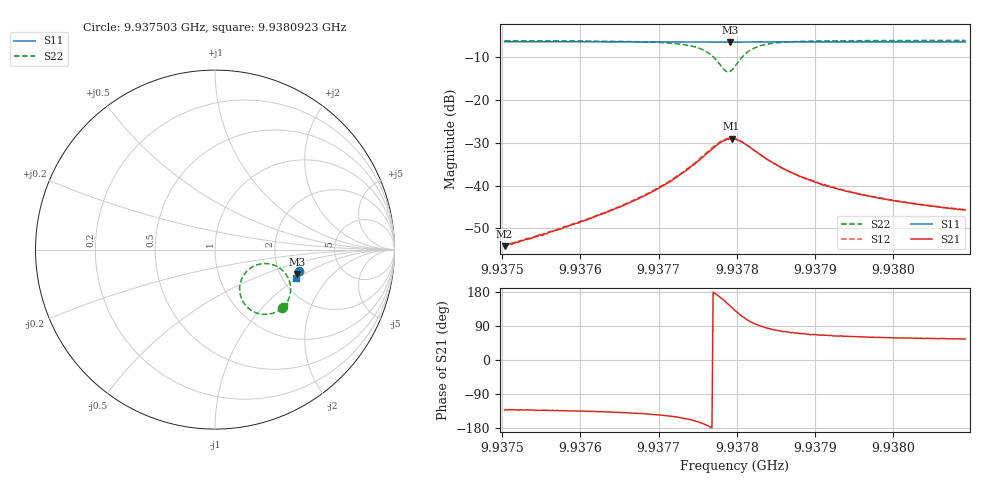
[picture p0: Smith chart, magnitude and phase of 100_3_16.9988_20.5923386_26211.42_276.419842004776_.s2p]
#  HZ  S  RI  R  50.00
! Rohde & Schwarz Vector Network Analyzer
! Rohde-Schwarz,ZNB20-2Port,1311601062101988,3.16
! Created: UTC 3/20/2024, 10:56:36 PM
! freq[Hz]  re:S11  im:S11  re:S21  im:S21  re:S12  im:S12  re:S22  im:S22
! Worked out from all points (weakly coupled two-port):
!   401 points, 9.937503 GHz to 9.9380923 GHz, reference 50 ohm
!   highest |S21| = -29.02 dB at 9.9377932 GHz (marker M1); lowest = -54.2 dB at 9.937503 GHz (marker M2)
!   lowest |S11| = -6.4 dB at 9.9377917 GHz (marker M3), VSWR 2.83, Z = 123 - j43.6 ohm
!   |S11| at or under -10 dB: nowhere
!   |S22| runs from -13.4 to -6.0 dB; largest |S21 - S12| = 0.0019
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9.937503e9  0.4673 -0.1194  -0.00131 -0.00144  -0.00131 -0.00144  0.3732 -0.3265
9.93755456e9  0.4664 -0.123  -0.00186 -0.00199  -0.00189 -0.00197  0.3658 -0.3325
9.9376017e9  0.4653 -0.1264  -0.00269 -0.00271  -0.00277 -0.00266  0.3558 -0.339
9.93765327e9  0.4638 -0.1299  -0.00432 -0.00381  -0.00447 -0.00382  0.3385 -0.3483
9.93770041e9  0.4624 -0.1331  -0.00765 -0.00537  -0.00791 -0.00533  0.3072 -0.3584
9.93773577e9  0.4609 -0.1357  -0.0137 -0.00632  -0.0142 -0.00623  0.2547 -0.3593
9.93775786e9  0.4594 -0.1371  -0.0216 -0.0043  -0.0224 -0.00381  0.1921 -0.3313
9.93776818e9  0.4585 -0.1373  -0.0267 -0.000454  -0.0277 0.00052  0.157 -0.2914
9.93777849e9  0.4577 -0.1373  -0.0306 0.00766  -0.0312 0.00898  0.1374 -0.2212
9.93778586e9  0.4573 -0.1369  -0.0306 0.0155  -0.0306 0.0172  0.1518 -0.1575
9.93779175e9  0.4572 -0.1365  -0.0279 0.0216  -0.0273 0.0235  0.1856 -0.1129
9.93779322e9  0.4574 -0.1364  -0.0267 0.0232  -0.0262 0.0247  0.1966 -0.104
9.93779764e9  0.4577 -0.136  -0.0228 0.0265  -0.0218 0.0277  0.2333 -0.0853
9.93780501e9  0.4582 -0.1362  -0.0152 0.0289  -0.0143 0.0298  0.2957 -0.0784
9.93781237e9  0.4589 -0.1365  -0.00879 0.0285  -0.0078 0.029  0.3451 -0.0937
9.93781974e9  0.4594 -0.137  -0.004 0.0265  -0.00328 0.0266  0.3784 -0.118
9.93782858e9  0.4595 -0.138  -0.000234 0.0235  0.000289 0.0235  0.4019 -0.1477
9.93786099e9  0.4596 -0.1409  0.00396 0.015  0.0043 0.0149  0.4215 -0.2219
9.93789635e9  0.4588 -0.144  0.00438 0.0104  0.00471 0.0103  0.4159 -0.2593
9.93794202e9  0.4578 -0.147  0.00396 0.00754  0.00411 0.00752  0.4065 -0.2836
9.93799505e9  0.4565 -0.1506  0.00352 0.00579  0.00361 0.00579  0.398 -0.299
9.93809229e9  0.4539 -0.157  0.00294 0.00428  0.00305 0.00424  0.3865 -0.3151
